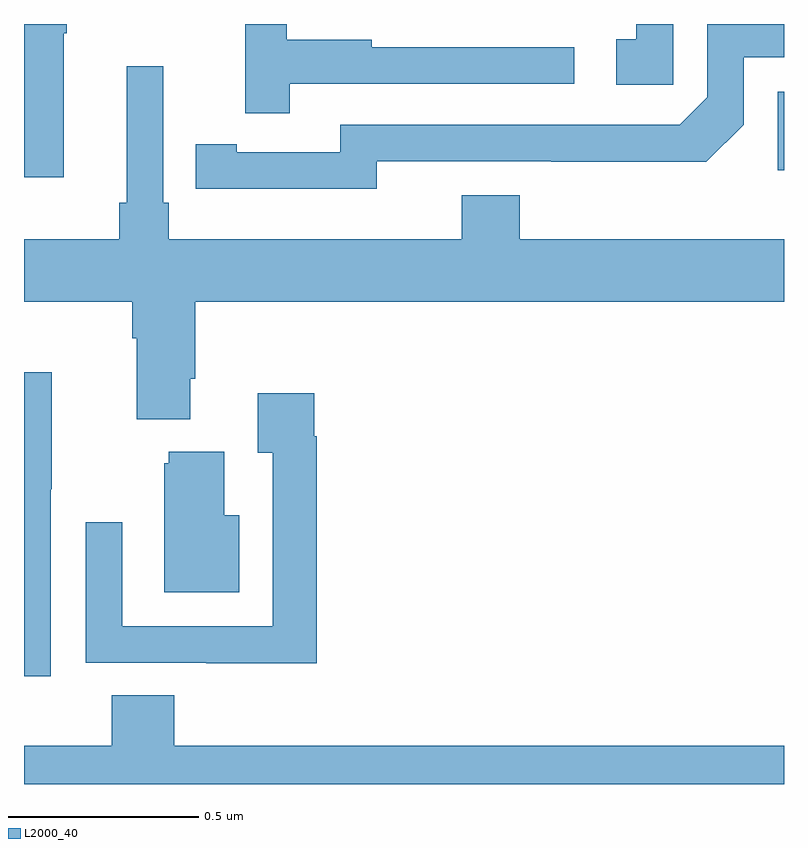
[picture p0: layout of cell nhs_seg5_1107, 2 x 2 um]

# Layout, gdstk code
import gdstk
lib = gdstk.Library(unit=1e-6, precision=1e-09)
def R(c, l, rs):  # rectangles x0, y0, x1, y1
    for r in rs: c.add(gdstk.rectangle(r[:2], r[2:], *l))
def P(c, l, *ps):  # polygons
    for p in ps: c.add(gdstk.Polygon(p, *l))
L2000_40 = (2000, 40)

nhs_seg5_1107 = lib.new_cell('nhs_seg5_1107')
R(nhs_seg5_1107, L2000_40, [(126.984,882.414,127,882.621)])
P(nhs_seg5_1107, L2000_40, [(126.708,882.799),(126.611,882.799),(126.611,882.759),(126.558,882.759),(126.558,882.639),(126.708,882.639)],
  [(125.104,882.775),(125.112,882.775),(125.112,882.799),(125,882.799),(125,882.396),(125.104,882.396)],
  [(125.699,882.642),(126.448,882.642),(126.448,882.738),(125.915,882.738),(125.915,882.758),(125.692,882.758),(125.692,882.799),(125.582,882.799),(125.582,882.564),(125.699,882.564)],
  [(125.928,882.438),(126.388,882.438),(126.388,882.437),(126.796,882.437),(126.894,882.534),(126.894,882.711),(127,882.711),(127,882.799),(126.798,882.799),(126.798,882.606),(126.726,882.534),(125.832,882.534),(125.832,882.462),(125.56,882.462),(125.56,882.482),(125.452,882.482),(125.452,882.366),(125.56,882.366),(125.56,882.365),(125.928,882.365)],
  [(125.437,881.866),(125.45,881.866),(125.45,882.068),(127,882.068),(127,882.232),(126.305,882.232),(126.305,882.349),(126.152,882.349),(126.152,882.232),(125.381,882.232),(125.381,882.328),(125.367,882.328),(125.367,882.688),(125.27,882.688),(125.27,882.328),(125.251,882.328),(125.251,882.232),(125,882.232),(125,882.068),(125.285,882.068),(125.285,881.972),(125.297,881.972),(125.297,881.759),(125.437,881.759)],
  [(125.07,881.575),(125.073,881.575),(125.073,881.882),(125,881.882),(125,881.082),(125.07,881.082)],
  [(125.771,881.714),(125.764,881.714),(125.764,881.827),(125.615,881.827),(125.615,881.671),(125.655,881.671),(125.655,881.214),(125.259,881.214),(125.259,881.488),(125.163,881.488),(125.163,881.118),(125.479,881.118),(125.479,881.117),(125.771,881.117)],
  [(125.566,881.506),(125.527,881.506),(125.527,881.674),(125.381,881.674),(125.381,881.643),(125.369,881.643),(125.369,881.303),(125.566,881.303)],
  [(127,880.9),(125.396,880.9),(125.396,881.033),(125.231,881.033),(125.231,880.9),(125,880.9),(125,880.799),(127,880.799)])

lib.write_gds('nhs_seg5_1107.gds')
